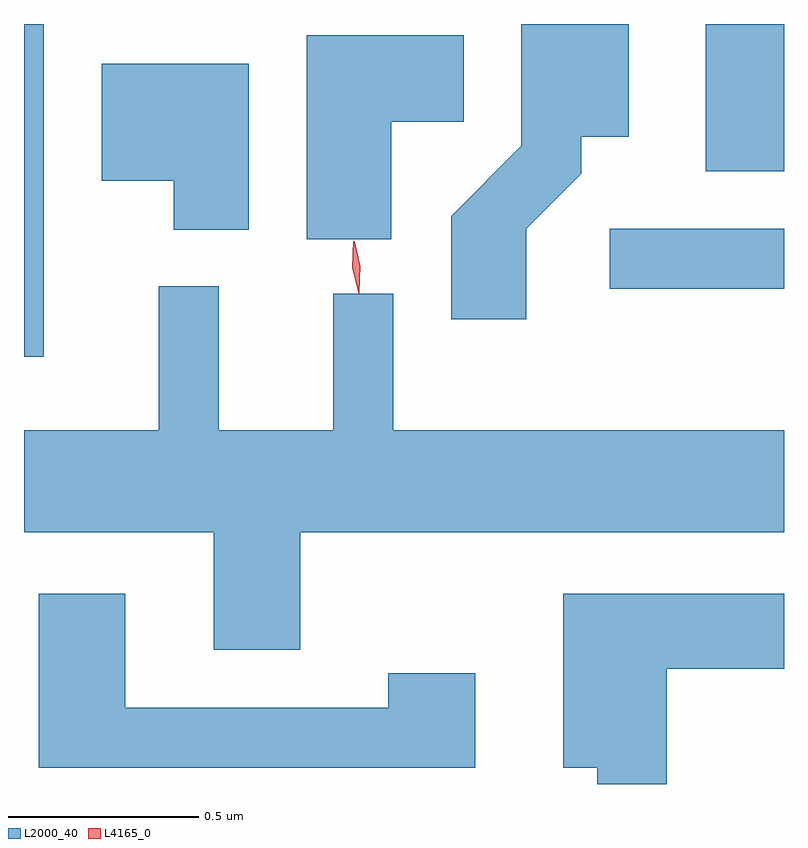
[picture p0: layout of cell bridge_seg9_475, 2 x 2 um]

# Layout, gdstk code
import gdstk
lib = gdstk.Library(unit=1e-6, precision=1e-09)
def R(c, l, rs):  # rectangles x0, y0, x1, y1
    for r in rs: c.add(gdstk.rectangle(r[:2], r[2:], *l))
def P(c, l, *ps):  # polygons
    for p in ps: c.add(gdstk.Polygon(p, *l))
L2000_40 = (2000, 40)
L4165_0 = (4165, 0)

bridge_seg9_475 = lib.new_cell('bridge_seg9_475')
R(bridge_seg9_475, L2000_40, [(440.612,1992.278,440.664,1993.153), (442.153,1992.456,442.612,1992.614), (442.406,1992.766,442.612,1993.153)])
P(bridge_seg9_475, L2000_40, [(441.934,1992.614),(442.079,1992.759),(442.079,1992.856),(442.204,1992.856),(442.204,1993.153),(441.921,1993.153),(441.921,1992.832),(441.736,1992.647),(441.736,1992.376),(441.934,1992.376)],
  [(441.579,1992.896),(441.769,1992.896),(441.769,1993.124),(441.356,1993.124),(441.356,1992.586),(441.579,1992.586)],
  [(441.204,1993.049),(440.816,1993.049),(440.816,1992.741),(441.006,1992.741),(441.006,1992.611),(441.204,1992.611)],
  [(441.339,1991.816),(442.612,1991.816),(442.612,1992.084),(441.584,1992.084),(441.584,1992.443),(441.426,1992.443),(441.426,1992.084),(441.124,1992.084),(441.124,1992.463),(440.966,1992.463),(440.966,1992.084),(440.612,1992.084),(440.612,1991.816),(441.111,1991.816),(441.111,1991.506),(441.339,1991.506)],
  [(442.304,1991.456),(442.612,1991.456),(442.612,1991.654),(442.031,1991.654),(442.031,1991.196),(442.121,1991.196),(442.121,1991.153),(442.304,1991.153)],
  [(441.799,1991.444),(441.571,1991.444),(441.571,1991.354),(440.879,1991.354),(440.879,1991.654),(440.651,1991.654),(440.651,1991.196),(441.799,1991.196)])
P(bridge_seg9_475, L4165_0, [(441.493,1992.445),(441.476,1992.512),(441.478,1992.582),(441.479,1992.582),(441.479,1992.582),(441.496,1992.515),(441.494,1992.445),(441.494,1992.445)],
  [(441.493,1992.448),(441.478,1992.513),(441.481,1992.58),(441.481,1992.58),(441.482,1992.58),(441.497,1992.515),(441.494,1992.448),(441.494,1992.448)])

lib.write_gds('bridge_seg9_475.gds')
